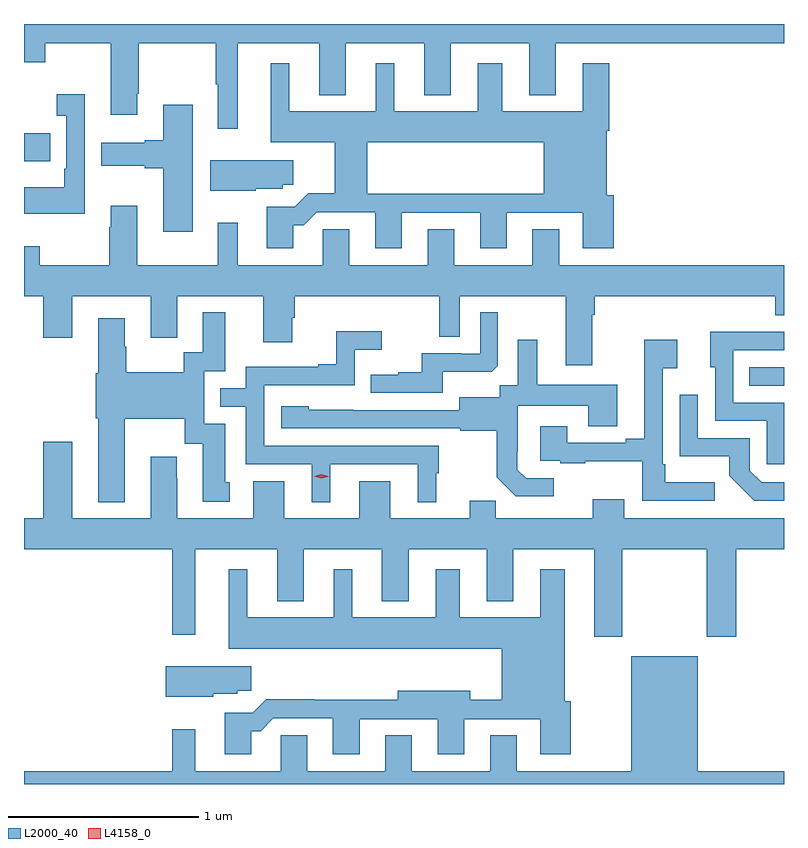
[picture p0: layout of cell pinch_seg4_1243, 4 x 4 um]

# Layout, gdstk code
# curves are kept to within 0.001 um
import gdstk
lib = gdstk.Library(unit=1e-6, precision=1e-09)
def R(c, l, rs):  # rectangles x0, y0, x1, y1
    for r in rs: c.add(gdstk.rectangle(r[:2], r[2:], *l))
def P(c, l, *ps):  # polygons
    for p in ps: c.add(gdstk.Polygon(p, *l))
L2000_40 = (2000, 40)
L4158_0 = (4158, 0)

pinch_seg4_1243 = lib.new_cell('pinch_seg4_1243')
R(pinch_seg4_1243, L2000_40, [(245.005,773.706,245.187,773.802), (241.187,774.887,241.325,775.035)])
P(pinch_seg4_1243, L2000_40, [(242.311,775.508),(242.741,775.508),(242.741,775.235),(242.881,775.235),(242.881,775.508),(243.293,775.508),(243.293,775.235),(243.433,775.235),(243.433,775.508),(243.845,775.508),(243.845,775.235),(243.985,775.235),(243.985,775.508),(245.187,775.508),(245.187,775.609),(241.187,775.609),(241.187,775.409),(241.299,775.409),(241.299,775.508),(241.643,775.508),(241.643,775.131),(241.783,775.131),(241.783,775.243),(241.791,775.243),(241.791,775.508),(242.197,775.508),(242.197,775.292),(242.207,775.292),(242.207,775.059),(242.311,775.059)],
  [(242.465,774.648),(242.465,774.429),(242.605,774.429),(242.605,774.551),(242.66,774.551),(242.727,774.618),(243.035,774.618),(243.035,774.429),(243.175,774.429),(243.175,774.615),(243.587,774.615),(243.587,774.429),(243.727,774.429),(243.727,774.615),(244.127,774.615),(244.127,774.429),(244.292,774.429),(244.292,774.708),(244.255,774.708),(244.255,775.046),(244.268,775.046),(244.268,775.402),(244.127,775.402),(244.127,775.15),(243.703,775.15),(243.703,775.402),(243.575,775.402),(243.575,775.15),(243.136,775.15),(243.136,775.402),(243.038,775.402),(243.038,775.15),(242.584,775.15),(242.584,775.402),(242.486,775.402),(242.486,774.986),(242.822,774.986),(242.822,774.719),(242.684,774.719),(242.681,774.716),(242.993,774.716),(242.993,774.986),(243.923,774.986),(243.923,774.716),(242.681,774.716),(242.613,774.648)],
  [(241.506,775.24),(241.359,775.24),(241.359,775.127),(241.41,775.127),(241.41,774.847),(241.398,774.847),(241.398,774.751),(241.187,774.751),(241.187,774.611),(241.506,774.611)],
  [(242.074,775.183),(241.919,775.183),(241.919,774.998),(241.823,774.998),(241.823,774.985),(241.593,774.985),(241.593,774.863),(241.823,774.863),(241.823,774.851),(241.919,774.851),(241.919,774.516),(242.074,774.516)],
  [(242.406,774.743),(242.55,774.743),(242.55,774.763),(242.605,774.763),(242.605,774.892),(242.166,774.892),(242.166,774.731),(242.406,774.731)],
  [(244.177,774.08),(244.19,774.08),(244.19,774.176),(245.141,774.176),(245.141,774.077),(245.187,774.077),(245.187,774.34),(244.003,774.34),(244.003,774.53),(243.863,774.53),(243.863,774.34),(243.451,774.34),(243.451,774.53),(243.311,774.53),(243.311,774.34),(242.899,774.34),(242.899,774.53),(242.76,774.53),(242.76,774.34),(242.311,774.34),(242.311,774.562),(242.207,774.562),(242.207,774.34),(241.783,774.34),(241.783,774.652),(241.643,774.652),(241.643,774.539),(241.636,774.539),(241.636,774.34),(241.269,774.34),(241.269,774.439),(241.187,774.439),(241.187,774.176),(241.289,774.176),(241.289,773.958),(241.441,773.958),(241.441,774.176),(241.853,774.176),(241.853,773.958),(241.993,773.958),(241.993,774.176),(242.447,774.176),(242.447,773.934),(242.599,773.934),(242.599,774.063),(242.612,774.063),(242.612,774.176),(243.372,774.176),(243.372,773.962),(243.48,773.962),(243.48,774.176),(244.037,774.176),(244.037,773.814),(244.177,773.814)],
  [(243.391,773.78),(243.649,773.78),(243.681,773.811),(243.681,774.091),(243.588,774.091),(243.588,773.874),(243.488,773.874),(243.488,773.877),(243.281,773.877),(243.281,773.776),(243.157,773.776),(243.157,773.764),(243.013,773.764),(243.013,773.667),(243.391,773.667)],
  [(241.717,773.531),(242.033,773.531),(242.033,773.4),(242.129,773.4),(242.129,773.094),(242.269,773.094),(242.269,773.196),(242.245,773.196),(242.245,773.505),(242.136,773.505),(242.136,773.781),(242.245,773.781),(242.245,774.091),(242.129,774.091),(242.129,773.882),(242.028,773.882),(242.028,773.776),(241.725,773.776),(241.725,773.91),(241.717,773.91),(241.717,774.061),(241.577,774.061),(241.577,773.772),(241.565,773.772),(241.565,773.535),(241.577,773.535),(241.577,773.093),(241.717,773.093)],
  [(242.8,773.292),(243.26,773.292),(243.26,773.093),(243.358,773.093),(243.358,773.244),(243.37,773.244),(243.37,773.388),(242.451,773.388),(242.451,773.709),(242.928,773.709),(242.928,773.894),(243.07,773.894),(243.07,773.993),(242.83,773.993),(242.83,773.818),(242.735,773.818),(242.735,773.805),(242.355,773.805),(242.355,773.691),(242.221,773.691),(242.221,773.595),(242.355,773.595),(242.355,773.292),(242.702,773.292),(242.702,773.093),(242.8,773.093)],
  [(245.187,773.616),(244.92,773.616),(244.92,773.892),(245.187,773.892),(245.187,773.988),(245.017,773.988),(245.017,773.99),(244.799,773.99),(244.799,773.802),(244.824,773.802),(244.824,773.52),(245.097,773.52),(245.097,773.292),(245.187,773.292)],
  [(244.822,773.197),(244.561,773.197),(244.561,773.293),(244.548,773.293),(244.548,773.798),(244.624,773.798),(244.624,773.947),(244.451,773.947),(244.451,773.425),(244.355,773.425),(244.355,773.406),(244.045,773.406),(244.045,773.491),(243.905,773.491),(243.905,773.31),(244.009,773.31),(244.009,773.298),(244.141,773.298),(244.141,773.309),(244.44,773.309),(244.44,773.1),(244.822,773.1)],
  [(243.976,773.217),(243.831,773.217),(243.784,773.264),(243.784,773.359),(243.786,773.359),(243.786,773.6),(244.157,773.6),(244.157,773.491),(244.309,773.491),(244.309,773.71),(243.889,773.71),(243.889,773.947),(243.785,773.947),(243.785,773.708),(243.69,773.708),(243.69,773.644),(243.479,773.644),(243.479,773.577),(242.685,773.578),(242.685,773.596),(242.541,773.596),(242.541,773.481),(243.483,773.481),(243.483,773.469),(243.675,773.469),(243.675,773.223),(243.775,773.123),(243.976,773.123)],
  [(245.187,773.196),(245.07,773.196),(245.007,773.259),(245.007,773.43),(244.734,773.43),(244.734,773.659),(244.638,773.659),(244.638,773.333),(244.9,773.333),(244.9,773.231),(245.03,773.1),(245.187,773.1)],
  [(244.335,772.844),(244.78,772.844),(244.78,772.383),(244.935,772.383),(244.935,772.844),(245.187,772.844),(245.187,773.008),(244.345,773.008),(244.345,773.107),(244.181,773.107),(244.181,773.008),(243.671,773.008),(243.671,773.099),(243.533,773.099),(243.533,773.008),(243.115,773.008),(243.115,773.203),(242.951,773.203),(242.951,773.008),(242.557,773.008),(242.557,773.203),(242.393,773.203),(242.393,773.008),(241.993,773.008),(241.993,773.219),(241.99,773.219),(241.99,773.332),(241.853,773.332),(241.853,773.008),(241.441,773.008),(241.441,773.41),(241.289,773.41),(241.289,773.008),(241.187,773.008),(241.187,772.844),(241.968,772.844),(241.968,772.395),(242.089,772.395),(242.089,772.844),(242.519,772.844),(242.519,772.571),(242.659,772.571),(242.659,772.844),(243.071,772.844),(243.071,772.571),(243.211,772.571),(243.211,772.844),(243.623,772.844),(243.623,772.571),(243.763,772.571),(243.763,772.844),(244.187,772.844),(244.187,772.383),(244.335,772.383)],
  [(242.383,771.887),(242.432,771.887),(242.499,771.954),(242.813,771.954),(242.813,771.765),(242.953,771.765),(242.953,771.951),(243.365,771.951),(243.365,771.765),(243.505,771.765),(243.505,771.951),(243.905,771.951),(243.905,771.765),(244.065,771.765),(244.065,772.044),(244.033,772.044),(244.033,772.738),(243.905,772.738),(243.905,772.486),(243.481,772.486),(243.481,772.738),(243.353,772.738),(243.353,772.486),(242.914,772.486),(242.914,772.738),(242.816,772.738),(242.816,772.486),(242.362,772.486),(242.362,772.738),(242.264,772.738),(242.264,772.322),(243.701,772.322),(243.701,772.052),(243.535,772.052),(243.535,772.099),(243.155,772.099),(243.155,772.052),(242.717,772.052),(242.717,772.055),(242.462,772.055),(242.391,771.984),(242.243,771.984),(242.243,771.765),(242.383,771.765)],
  [(245.187,771.676),(244.732,771.676),(244.732,772.282),(244.382,772.282),(244.382,771.676),(243.781,771.676),(243.781,771.866),(243.641,771.866),(243.641,771.676),(243.229,771.676),(243.229,771.866),(243.089,771.866),(243.089,771.676),(242.677,771.676),(242.677,771.866),(242.538,771.866),(242.538,771.676),(242.089,771.676),(242.089,771.898),(241.968,771.898),(241.968,771.676),(241.187,771.676),(241.187,771.609),(245.187,771.609)],
  [(242.184,772.085),(242.31,772.085),(242.31,772.099),(242.383,772.099),(242.383,772.228),(241.934,772.228),(241.934,772.067),(242.184,772.067)])
P(pinch_seg4_1243, L4158_0, [(242.751,773.218),(242.715,773.228),(242.715,773.228),(242.715,773.229),(242.751,773.238),(242.787,773.228),(242.787,773.228),(242.787,773.227)])

lib.write_gds('pinch_seg4_1243.gds')
